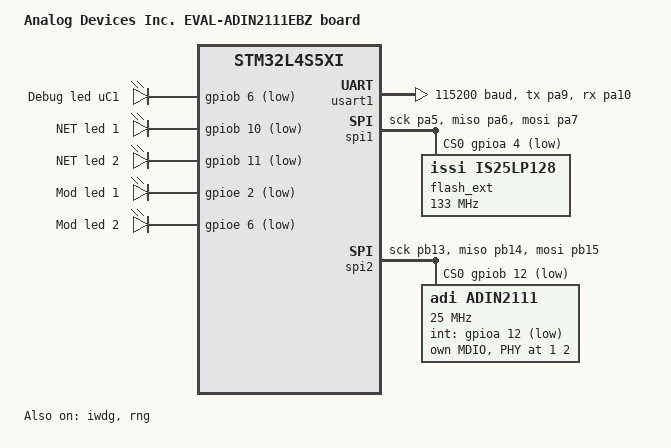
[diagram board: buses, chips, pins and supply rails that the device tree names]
/*
 * Copyright (c) 2024 BayLibre
 *
 * SPDX-License-Identifier: Apache-2.0
 */

/dts-v1/;

#include <st/l4/stm32l4s5Xi.dtsi>
#include <st/l4/stm32l4s5qiix-pinctrl.dtsi>

/ {
	model = "Analog Devices Inc. EVAL-ADIN2111EBZ board";
	compatible = "adi,eval-adin2111ebz";

	chosen {
		zephyr,console = &usart1;
		zephyr,shell-uart = &usart1;
		zephyr,sram = &sram0;
		zephyr,flash = &flash0;
		zephyr,code-partition = &slot0_partition;
	};

	leds {
		compatible = "gpio-leds";
		blue_led: uC_led1 {
			gpios = <&gpiob 6 GPIO_ACTIVE_LOW>;
			label = "Debug led uC1";
		};
		net_red_led: led_NET1 {
			gpios = <&gpiob 10 GPIO_ACTIVE_LOW>;
			label = "NET led 1";
		};
		net_green_led: led_NET2 {
			gpios = <&gpiob 11 GPIO_ACTIVE_LOW>;
			label = "NET led 2";
		};
		mod_red_led: led_MOD1 {
			gpios = <&gpioe 2 GPIO_ACTIVE_LOW>;
			label = "Mod led 1";
		};
		mod_green_led: led_MOD2 {
			gpios = <&gpioe 6 GPIO_ACTIVE_LOW>;
			label = "Mod led 2";
		};
	};

	aliases {
		led0 = &blue_led;
		watchdog0 = &iwdg;
	};
};

&clk_lsi {
	status = "okay";
};

&clk_hsi48 {
	status = "okay";
};

&clk_hsi {
	status = "okay";
};

&pll {
	div-m = <4>;
	mul-n = <40>;
	div-q = <2>;
	div-r = <2>;
	clocks = <&clk_hsi>;
	status = "okay";
};

&rcc {
	clocks = <&pll>;
	clock-frequency = <DT_FREQ_M(80)>;
	ahb-prescaler = <1>;
	apb1-prescaler = <1>;
	apb2-prescaler = <1>;
};

&flash0 {
	partitions {
		compatible = "fixed-partitions";
		#address-cells = <1>;
		#size-cells = <1>;

		boot_partition: partition@0 {
			label = "mcuboot";
			reg = <0x00000000 DT_SIZE_K(64)>;
			read-only;
		};

		/*
		 * The flash starting at offset 0x10000 and ending at
		 * offset 0x1ffff is reserved for use by the application.
		 */

		slot0_partition: partition@20000 {
			label = "image-0";
			reg = <0x00020000 DT_SIZE_K(432)>;
		};
		slot1_partition: partition@8c000 {
			label = "image-1";
			reg = <0x0008C000 DT_SIZE_K(432)>;
		};
		scratch_partition: partition@f8000 {
			label = "image-scratch";
			reg = <0x000F8000 DT_SIZE_K(16)>;
		};

		storage_partition: partition@fc000 {
			label = "storage";
			reg = <0x000fc000 DT_SIZE_K(16)>;
		};
	};
};

&iwdg {
	status = "okay";
};

&rng {
	status = "okay";
};

&dma1 {
	status = "okay";
};

&dmamux1 {
	status = "okay";
};

&usart1 { /* USB FT232 */
	pinctrl-0 = <&usart1_tx_pa9 &usart1_rx_pa10>;
	pinctrl-names = "default";
	current-speed = <115200>;
	status = "okay";
};

&spi1 {
	pinctrl-0 = <&spi1_sck_pa5 &spi1_miso_pa6 &spi1_mosi_pa7>;
	pinctrl-names = "default";
	cs-gpios = <&gpioa 4 (GPIO_ACTIVE_LOW | GPIO_PULL_UP)>;
	status = "okay";

	flash_ext: flash@0 {
		compatible = "issi,is25lp128", "jedec,spi-nor";
		size = <134217728>;
		jedec-id = [96 60 18];
		reg = <0>;
		spi-max-frequency = <133000000>;
		status = "okay";
	};
};

&spi2 {
	pinctrl-0 = <&spi2_sck_pb13 &spi2_miso_pb14 &spi2_mosi_pb15>;
	pinctrl-names = "default";
	cs-gpios = <&gpiob 12 (GPIO_ACTIVE_LOW | GPIO_PULL_UP)>;
	status = "okay";
	dmas = <&dmamux1 2 13 (STM32_DMA_MEMORY_TO_PERIPH | STM32_DMA_MEM_INC |
		       STM32_DMA_MEM_8BITS | STM32_DMA_PERIPH_8BITS)>,
		       <&dmamux1 3 12 (STM32_DMA_PERIPH_TO_MEMORY | STM32_DMA_MEM_INC |
		       STM32_DMA_MEM_8BITS | STM32_DMA_PERIPH_8BITS)>;
	dma-names = "tx", "rx";

	adin2111: adin2111@0 {
		compatible = "adi,adin2111";
		reg = <0x0>;
		spi-max-frequency = <25000000>;
		int-gpios = <&gpioa 12 GPIO_ACTIVE_LOW>;
		status = "okay";
		spi-oa;
		spi-oa-protection;

		port1 {
			local-mac-address = [ 00 E0 22 FE DA C9 ];
		};
		port2 {
			local-mac-address = [ 00 E0 22 FE DA D9 ];
		};
		mdio {
			compatible = "adi,adin2111-mdio";
			#address-cells = <1>;
			#size-cells = <0>;
			status = "okay";

			ethernet-phy@1 {
				reg = <0x1>;
				compatible = "adi,adin2111-phy";
				status = "okay";
			};
			ethernet-phy@2 {
				reg = <0x2>;
				compatible = "adi,adin2111-phy";
				status = "okay";
			};
		};
	};
};
